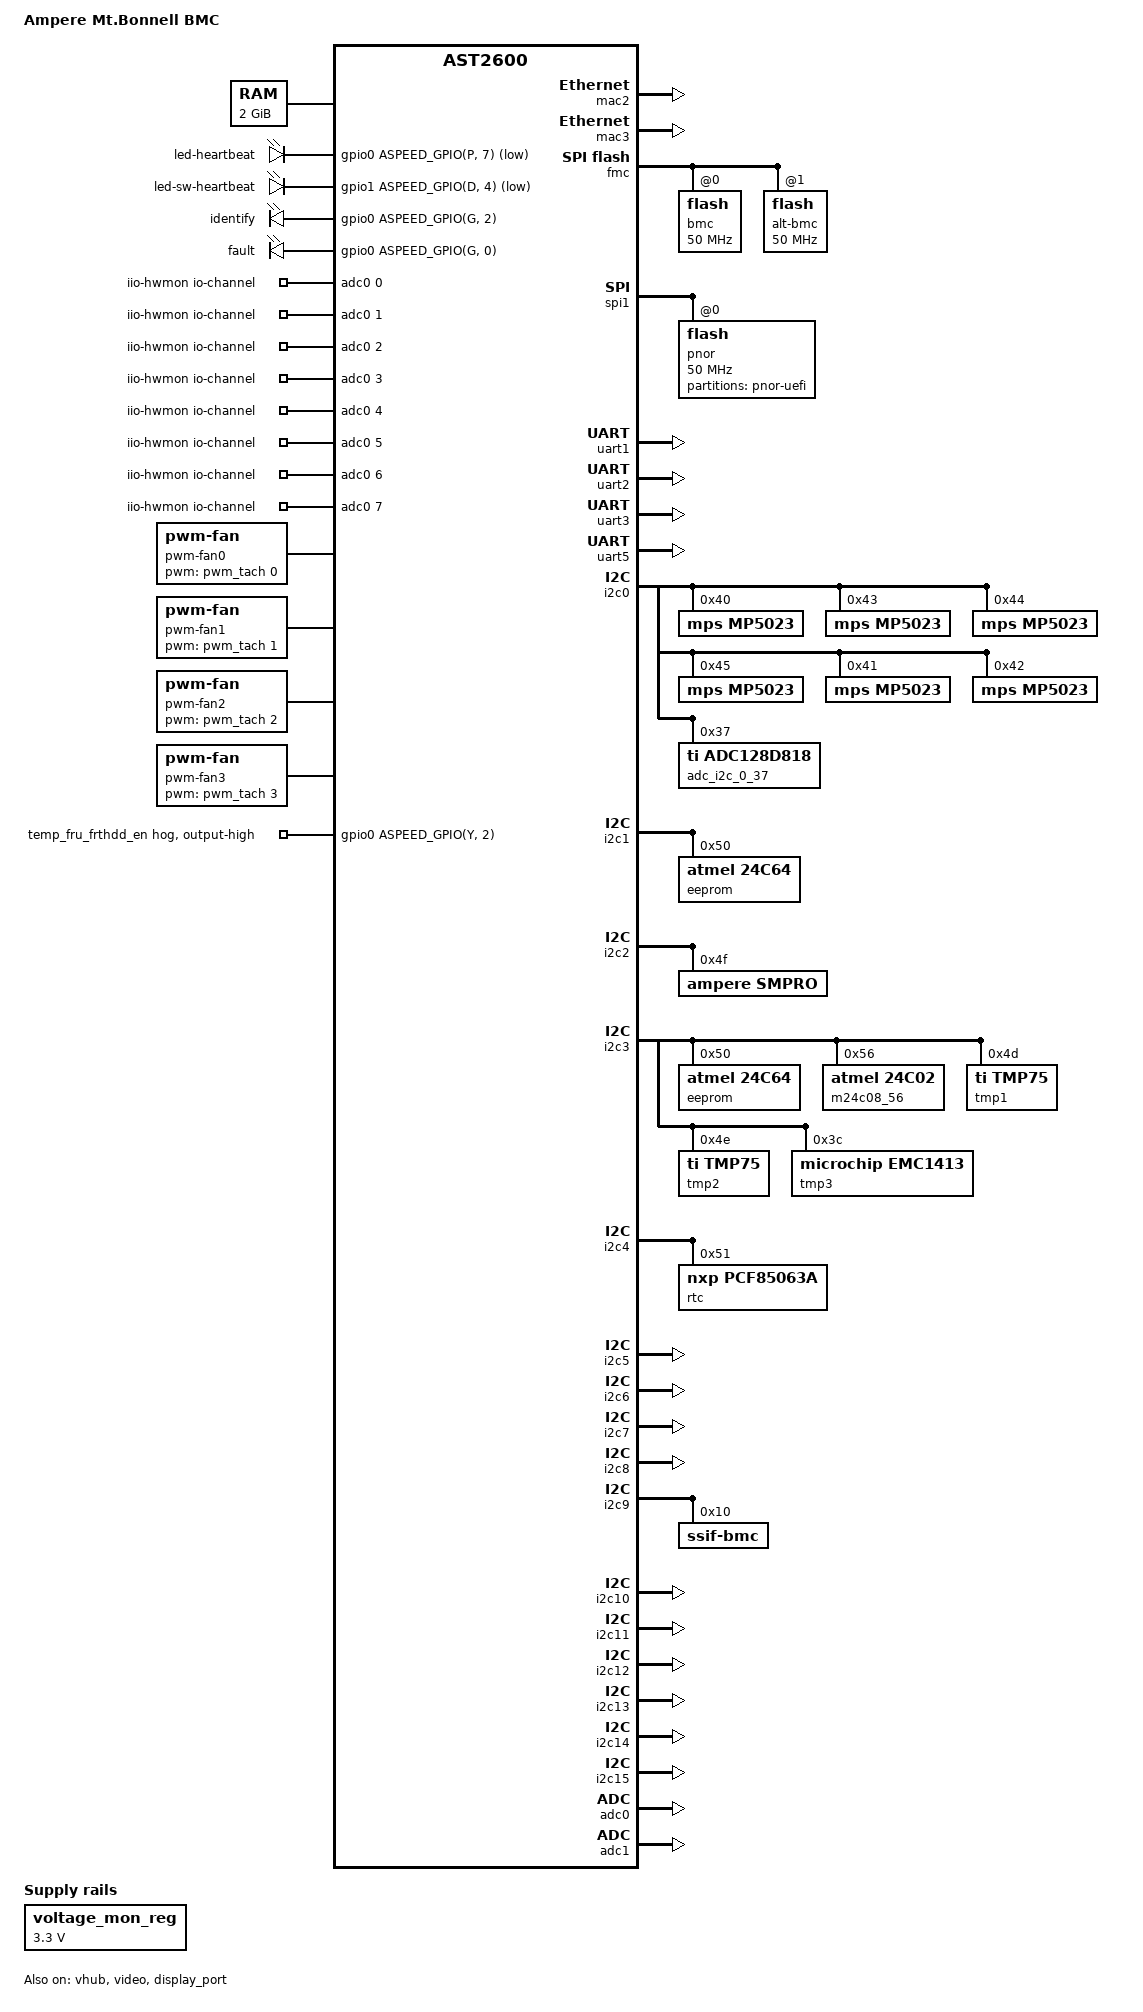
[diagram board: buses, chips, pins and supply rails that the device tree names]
// SPDX-License-Identifier: GPL-2.0-only
// Copyright (c) 2022, Ampere Computing LLC

/dts-v1/;

#include "aspeed-g6.dtsi"
#include <dt-bindings/i2c/i2c.h>
#include <dt-bindings/gpio/aspeed-gpio.h>

/ {
	model = "Ampere Mt.Bonnell BMC";
	compatible = "ampere,mtbonnell-bmc", "aspeed,ast2600";

	aliases {
		/*
		 *  I2C NVMe alias port
		 */
	};

	chosen {
		stdout-path = &uart5;
	};

	memory@80000000 {
		device_type = "memory";
		reg = <0x80000000 0x80000000>;
	};

	reserved-memory {
		#address-cells = <1>;
		#size-cells = <1>;
		ranges;

		gfx_memory: framebuffer {
			size = <0x01000000>;
			alignment = <0x01000000>;
			compatible = "shared-dma-pool";
			reusable;
		};

		video_engine_memory: video {
			size = <0x04000000>;
			alignment = <0x01000000>;
			compatible = "shared-dma-pool";
			reusable;
		};

		vga_memory: region@bf000000 {
			no-map;
			compatible = "shared-dma-pool";
			reg = <0xbf000000 0x01000000>;  /* 16M */
		};
	};

	leds {
		compatible = "gpio-leds";

                led-heartbeat {
			gpios = <&gpio0 ASPEED_GPIO(P, 7) GPIO_ACTIVE_LOW>;
			linux,default-trigger = "heartbeat";
		};

                led-sw-heartbeat {
			gpios = <&gpio1 ASPEED_GPIO(D, 4) GPIO_ACTIVE_LOW>;
		};

		identify {
			gpios = <&gpio0 ASPEED_GPIO(G, 2) GPIO_ACTIVE_HIGH>;
		};

		fault {
			gpios = <&gpio0 ASPEED_GPIO(G, 0) GPIO_ACTIVE_HIGH>;
		};
	};

	voltage_mon_reg: voltage-mon-regulator {
		compatible = "regulator-fixed";
		regulator-name = "ltc2497_reg";
		regulator-min-microvolt = <3300000>;
		regulator-max-microvolt = <3300000>;
		regulator-always-on;
	};

	iio-hwmon {
		compatible = "iio-hwmon";
		io-channels =   <&adc0 0>, <&adc0 1>, <&adc0 2>, <&adc0 3>,
				<&adc0 4>, <&adc0 5>, <&adc0 6>, <&adc0 7>,
				<&adc1 0>, <&adc1 1>, <&adc1 2>, <&adc1 3>,
				<&adc1 4>, <&adc1 5>, <&adc1 6>, <&adc1 7>;
	};

	pwm-fan0 {
		compatible = "pwm-fan";
		pwms = <&pwm_tach 0 40000 0>;	/* Target freq:25 kHz */
	};

	pwm-fan1 {
		compatible = "pwm-fan";
		pwms = <&pwm_tach 1 40000 0>;	/* Target freq:25 kHz */
	};

	pwm-fan2 {
		compatible = "pwm-fan";
		pwms = <&pwm_tach 2 40000 0>;	/* Target freq:25 kHz */
	};

	pwm-fan3 {
		compatible = "pwm-fan";
		pwms = <&pwm_tach 3 40000 0>;	/* Target freq:25 kHz */
	};
};

&mac2 {
	status = "okay";
	pinctrl-names = "default";
	pinctrl-0 = <&pinctrl_rmii3_default>;
	clock-names = "MACCLK", "RCLK";
	use-ncsi;
};

&mac3 {
	status = "okay";
	pinctrl-names = "default";
	pinctrl-0 = <&pinctrl_rmii4_default>;
	clock-names = "MACCLK", "RCLK";
	use-ncsi;
};

&fmc {
	status = "okay";
	flash@0 {
		status = "okay";
		m25p,fast-read;
		label = "bmc";
		spi-max-frequency = <50000000>;
#include "openbmc-flash-layout-64.dtsi"
	};

	flash@1 {
		status = "okay";
		m25p,fast-read;
		label = "alt-bmc";
		spi-max-frequency = <50000000>;
#include "openbmc-flash-layout-64-alt.dtsi"
	};
};

&pwm_tach {
	pinctrl-names = "default";
	pinctrl-0 = <&pinctrl_pwm0_default &pinctrl_pwm1_default
		&pinctrl_pwm2_default &pinctrl_pwm3_default
		&pinctrl_tach0_default &pinctrl_tach1_default
		&pinctrl_tach2_default &pinctrl_tach3_default
		&pinctrl_tach4_default &pinctrl_tach5_default
		&pinctrl_tach6_default &pinctrl_tach7_default>;

	tach0-I@0 {
		tach-ch = <0x00>;
		min-rpm = <700>;
	};
	tach0-O@1 {
		tach-ch = <0x01>;
		min-rpm = <700>;
	};
	tach1-I@2 {
		tach-ch = <0x02>;
		min-rpm = <700>;
	};
	tach1-O@3 {
		tach-ch = <0x03>;
		min-rpm = <700>;
	};
	tach2-I@4 {
		tach-ch = <0x04>;
		min-rpm = <700>;
	};
	tach2-O@5 {
		tach-ch = <0x05>;
		min-rpm = <700>;
	};
	tach3-I@6 {
		tach-ch = <0x06>;
		min-rpm = <700>;
	};
	tach3-O@7 {
		tach-ch = <0x07>;
		min-rpm = <700>;
	};
};

&spi1 {
	status = "okay";
	pinctrl-names = "default";
	pinctrl-0 = <&pinctrl_spi1_default>;

	flash@0 {
		status = "okay";
		m25p,fast-read;
		label = "pnor";
		spi-max-frequency = <50000000>;
                partitions {
	                compatible = "fixed-partitions";
		        #address-cells = <1>;
		        #size-cells = <1>;
		        uefi@400000 {
			        reg = <0x400000 0x1C00000>;
			        label = "pnor-uefi";
		        };
	        };
	};
};

&uart1 {
	status = "okay";
};

&uart2 {
	status = "okay";
};

&uart3 {
	status = "okay";
};

/* BMC's UART */
&uart5 {
	status = "okay";
};

&i2c0 {
	status = "okay";

        mp5023@40 {
		compatible = "mps,mp5023";
		reg = <0x40>;
	};

        mp5023@43 {
		compatible = "mps,mp5023";
		reg = <0x43>;
	};

        mp5023@44 {
		compatible = "mps,mp5023";
		reg = <0x44>;
	};

        mp5023@45 {
		compatible = "mps,mp5023";
		reg = <0x45>;
	};

        mp5023@41 {
		compatible = "mps,mp5023";
		reg = <0x41>;
	};

        mp5023@42 {
		compatible = "mps,mp5023";
		reg = <0x42>;
	};

	adc_i2c_0_37: adc@37 {
		compatible = "ti,adc128d818";
		reg = <0x37>;
		ti,mode = /bits/ 8 <1>;
	};
};

&i2c1 {
	status = "okay";

        // CPU SCP EEPROM
	eeprom@50 {
		compatible = "atmel,24c64";
		reg = <0x50>;
		pagesize = <32>;
	};
};

&i2c2 {
	status = "okay";

        // SCP Register Map
        smpro@4f {
                compatible = "ampere,smpro";
                reg = <0x4f>;
        };
};

&i2c3 {
	status = "okay";

	eeprom@50 {
		compatible = "atmel,24c64";
		reg = <0x50>;
		pagesize = <32>;
	};

        m24c08_56: eeprom@56 {
		compatible = "atmel,24c02";
		reg = <0x56>;
		pagesize = <16>;
	};

        tmp1@4d {
                compatible = "ti,tmp75";
                reg = <0x4d>;
        };

        tmp2@4e {
                compatible = "ti,tmp75";
                reg = <0x4e>;
        };

	tmp3@3c {
                compatible = "microchip,emc1413";
                reg = <0x3c>;
        };

};

&i2c4 {
	status = "okay";

	rtc@51 {
		compatible = "nxp,pcf85063a";
		reg = <0x51>;
	};
};

&i2c5 {
	status = "okay";
        // PDB SMBUS
};

&i2c6 {
	status = "okay";
        // PDB PMBUS
};

&i2c7 {
	status = "okay";
        // DIMM
};

&i2c8 {
	status = "okay";
        // VRD
};

&i2c9 {
	status = "okay";

	ssif-bmc@10 {
		compatible = "ssif-bmc";
		reg = <0x10>;
	};
};

&i2c10 {
	status = "okay";
        // CLKGEN
};

&i2c11 {
	status = "okay";
        // M2 Onboard
};

&i2c12 {
	status = "okay";
        // TODO: MUX PCA9546 to Slim SAS
};

&i2c13 {
	status = "okay";
        // I350, OCP, and Risers
};

&i2c14 {
	status = "okay";
        // CPLD
};

&i2c15 {
	status = "okay";
        // HDD BP
};

&adc0 {
	ref_voltage = <2500>;
	status = "okay";
};

&adc1 {
	ref_voltage = <2500>;
	status = "okay";
};

&vhub {
	status = "okay";
};

&video {
	status = "okay";
	memory-region = <&video_engine_memory>;
};

&display_port {
        status = "okay";
};

&gpio0 {
    gpio-line-names =
	/*A0-A7*/	"","","","","","","","",
	/*B0-B7*/	"","","","","","","","",
	/*C0-C7*/	"","","","","","","","",
	/*D0-D7*/	"","","","","","","","",
	/*E0-E7*/	"","bmc-pal-pwr-btn-n","","","","","","",
	/*F0-F7*/	"","","","i2c-backup-sel","","","","",
	/*G0-G7*/	"","","","","host0-sysreset-n","","","s0-plimit",
	/*H0-H7*/	"uart3-mode1","uart2-mode1","uart1-mode1","vrd-prg-en-l","","","","",
	/*I0-I7*/	"","","bmc-ready-n","host-online-en","","s0-vr-hot-n","","",
	/*J0-J7*/	"","","","","","","","",
	/*K0-K7*/	"","","","","","","","",
	/*L0-L7*/	"","","","","","","","",
	/*M0-M7*/	"","s0-spi-auth-fail-n","","s0-sys-auth-failure-n","s0-fault-alert","","","",
	/*N0-N7*/	"","","s0-overtemp-n","s0-hightemp-n","","","","",
	/*O0-O7*/	"","","","","","","","",
	/*P0-P7*/	"","bmc-ok","","","","","","led-identify",
	/*Q0-Q7*/	"","","","","","","","",
	/*R0-R7*/	"","","","","","","","",
	/*S0-S7*/	"","bmc-vbat-sen-en","","","","presence-cpu0","","spi0-backup-sel",
	/*T0-T7*/	"","","","","","","","",
	/*U0-U7*/	"","","","","","","","",
	/*V0-V7*/	"","","","","host0-special-boot","","host0-shd-req-n","",
	/*W0-W7*/	"i2c-program-sel","psu0-work","spi0-program-sel","","","bmc-s0-mem-efgh-sel","bmc-s0-mem-abcd-sel","ext-hightemp-n",
	/*X0-X7*/	"host0-reboot-ack-n","","host0-ready","","","","","",
	/*Y0-Y7*/	"","","bmc-i2c4-en","","","","","",
	/*Z0-Z7*/	"","","","","","","","";

    /* The pin GPIOY2 (BMC_I2C4_TEMP_FRU_FRTHDD_EN) is used to control the
	 * accessing to i2c devices on i2c channel 3.
	 * Set this pin to high to allow BMC access to i2c devices (temperature,
	 * fru, frthdd) in the boot time */
	temp_fru_frthdd_en {
		gpio-hog;
		gpios = <ASPEED_GPIO(Y, 2) GPIO_ACTIVE_HIGH>;
		output-high;
	};
};

&gpio1 {
 	gpio-line-names =
	/*18A0-18A7*/	"fan0-prsnt-n","fan1-prsnt-n","fan2-prsnt-n","fan3-prsnt-n","","","","",
	/*18B0-18B7*/	"","","","","","","","",
	/*18C0-18C7*/	"","","","","","","","",
	/*18D0-18D7*/	"","","s0-vr1-pmbus-sel","s0-vr0-pmbus-sel","","host0-shd-ack-n","","",
	/*18E0-18E3*/	"s0-rtc-lock","","","";
};
